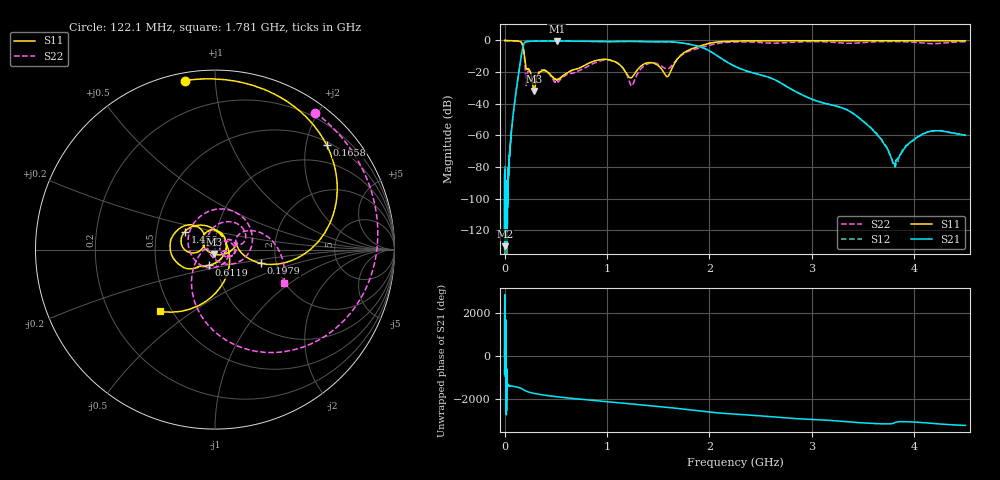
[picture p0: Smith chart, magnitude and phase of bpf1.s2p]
#  HZ  S  RI  R  50.00
! Rohde & Schwarz Vector Network Analyzer
! Rohde-Schwarz,ZNLE4-2Port,1323001254200019,1.80.1.7492-24.08.1.42
! Created: UTC 2/23/2026, 8:28:12 AM
! freq[Hz]  re:S11  im:S11  re:S21  im:S21  re:S12  im:S12  re:S22  im:S22
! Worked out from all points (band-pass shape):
!   5001 points, 1 MHz to 4.5 GHz, reference 50 ohm
!   highest |S21| = -0.42 dB at 509.4 MHz (marker M1); lowest = -130.2 dB at 2.843 MHz (marker M2)
!   |S21| within 3 dB of the highest: 183 MHz to 1.873 GHz (1.69 GHz wide, 164 % of centre)
!   lowest |S11| = -32.1 dB at 287 MHz (marker M3), VSWR 1.05, Z = 49.6 - j2.45 ohm
!   |S11| at or under -10 dB: 195.3 MHz to 1.713 GHz (1.518 GHz wide, 159 % of centre)
!   |S22| runs from -31.4 to -0.1 dB; largest |S21 - S12| = 0.013
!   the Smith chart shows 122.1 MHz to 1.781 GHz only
!   S11 on the Smith chart (normalised r, x): 122.1 MHz: 0.04, +0.84; 165.8 MHz: 0.57, +2.42; 197.9 MHz: 1.66, -0.28; 611.9 MHz: 0.92, -0.16; 1.438 GHz: 0.70, +0.15; 1.781 GHz: 0.43, -0.38
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1000000  -0.9904 0.0105  1.02e-05 1.8e-07  1.15e-05 -1.31e-05  -0.9858 0.0189
2842687  -0.9884 0.0283  2.24e-07 -2.11e-07  -4.28e-06 1.06e-06  -0.9826 0.0502
4067765  -0.9873 0.0418  -9.94e-06 -3.68e-05  3.2e-07 -3.28e-05  -0.9802 0.0715
1.65189e7  -0.9723 0.1621  -2.24e-05 5.55e-06  -3.93e-06 1.21e-05  -0.9351 0.2744
6.708204e7  -0.7563 0.6149  0.00109 0.000677  0.0011 0.000661  -0.3998 0.8683
1.220998e8  -0.1685 0.9418  0.0378 -0.0122  0.0376 -0.0124  0.559 0.7637
1.65841e8  0.6226 0.5811  0.0226 -0.3537  0.0209 -0.3524  0.7718 -0.3324
1.978834e8  0.2571 -0.0767  -0.8562 -0.0433  -0.8567 -0.0418  -0.1301 -0.1661
2.72874e8  0.0387 -0.0275  0.431 0.8356  0.4314 0.835  0.0415 -0.024
2.869997e8  -0.00389 -0.0247  0.6348 0.6973  0.6347 0.6975  0.0266 0.00357
5.093666e8  0.0505 -0.0263  -0.3217 -0.8967  -0.3282 -0.8937  0.0445 -0.014
6.11886e8  -0.0327 -0.0874  -0.911 -0.2633  -0.9128 -0.2518  0.069 -0.0475
8.381093e8  -0.1721 -0.1004  0.0176 0.9242  0.0213 0.9242  -0.1476 0.0768
1.108121e9  -0.1253 0.1379  0.8051 -0.4331  0.8032 -0.4386  0.1858 -0.0209
1.438258e9  -0.1684 0.0999  -0.8955 -0.0692  -0.896 -0.0657  0.1465 0.1279
1.780855e9  -0.3081 -0.344  0.7515 0.2045  0.7523 0.2022  0.3828 -0.1882
1.979972e9  -0.7777 0.0282  -0.0279 -0.5023  -0.0332 -0.5032  -0.6441 0.1653
2.272855e9  -0.4775 0.8171  -0.1199 0.0714  -0.1186 0.0721  0.8748 -0.1555
2.556917e9  0.1271 0.9502  0.0438 0.0575  0.0435 0.0569  -0.787 -0.2549
2.881325e9  0.6731 0.6992  0.00977 -0.0182  0.00986 -0.0182  0.8916 0.0198
3.257836e9  0.9668 0.1266  -0.00774 -0.0022  -0.0078 -0.00227  -0.7886 -0.2984
4.5e9  -0.4577 -0.8434  0.000969 -0.000221  0.000993 -0.000216  0.2613 -0.8664
